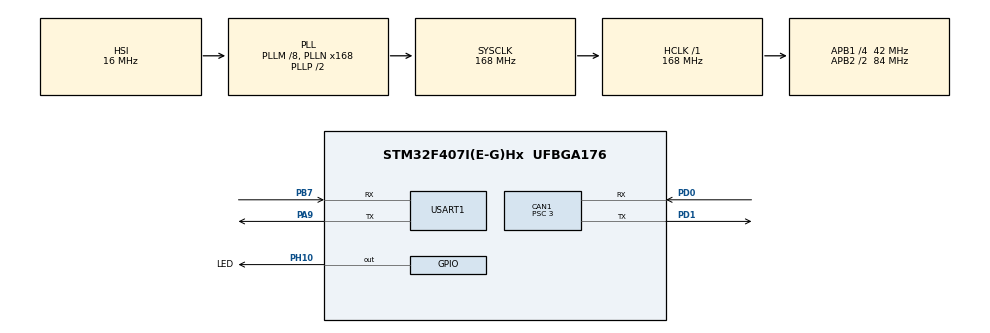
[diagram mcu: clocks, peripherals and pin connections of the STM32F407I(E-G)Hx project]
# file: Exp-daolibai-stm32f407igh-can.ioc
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CAN1.ABOM=ENABLE
CAN1.BS1=CAN_BS1_9TQ
CAN1.BS2=CAN_BS2_4TQ
CAN1.CalculateBaudRate=1000000
CAN1.CalculateTimeBit=1000
CAN1.CalculateTimeQuantum=71.42857142857143
CAN1.Prescaler=3
Mcu.Family=STM32F4
Mcu.Name=STM32F407I(E-G)Hx
Mcu.Package=UFBGA176
NVIC.CAN1_RX0_IRQn=true\:0\:0\:false\:false\:true\:true\:true\:true
NVIC.CAN1_TX_IRQn=true\:0\:0\:false\:false\:true\:true\:true\:true
NVIC.PriorityGroup=NVIC_PRIORITYGROUP_4
NVIC.USART1_IRQn=true\:0\:0\:false\:false\:true\:true\:true\:true
PA13.Mode=Serial_Wire
PA13.Signal=SYS_JTMS-SWDIO
PA14.Mode=Serial_Wire
PA14.Signal=SYS_JTCK-SWCLK
PA9.Mode=Asynchronous
PA9.Signal=USART1_TX
PB7.Mode=Asynchronous
PB7.Signal=USART1_RX
PC14-OSC32_IN.Mode=LSE-External-Oscillator
PC14-OSC32_IN.Signal=RCC_OSC32_IN
PC15-OSC32_OUT.Mode=LSE-External-Oscillator
PC15-OSC32_OUT.Signal=RCC_OSC32_OUT
PD0.Mode=CAN_Activate
PD0.Signal=CAN1_RX
PD1.Mode=CAN_Activate
PD1.Signal=CAN1_TX
PH0-OSC_IN.Mode=HSE-External-Oscillator
PH0-OSC_IN.Signal=RCC_OSC_IN
PH1-OSC_OUT.Mode=HSE-External-Oscillator
PH1-OSC_OUT.Signal=RCC_OSC_OUT
PH10.GPIO_Label=LED
PH10.PinState=GPIO_PIN_SET
PH10.Signal=GPIO_Output
ProjectManager.HeapSize=0x200
ProjectManager.StackSize=0x400
ProjectManager.TargetToolchain=Makefile
RCC.48MHZClocksFreq_Value=84000000
RCC.AHBFreq_Value=168000000
RCC.APB1CLKDivider=RCC_HCLK_DIV4
RCC.APB1Freq_Value=42000000
RCC.APB1TimFreq_Value=84000000
RCC.APB2CLKDivider=RCC_HCLK_DIV2
RCC.APB2Freq_Value=84000000
RCC.APB2TimFreq_Value=168000000
RCC.CortexFreq_Value=168000000
RCC.HCLKFreq_Value=168000000
RCC.HSE_VALUE=12000000
RCC.HSI_VALUE=16000000
RCC.PLLM=8
RCC.PLLN=168
RCC.SYSCLKFreq_VALUE=168000000
RCC.SYSCLKSource=RCC_SYSCLKSOURCE_PLLCLK
RCC.VCOOutputFreq_Value=336000000
USART1.VirtualMode=VM_ASYNC
board=custom

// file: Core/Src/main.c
/* USER CODE BEGIN Header */
/**
  ******************************************************************************
  * @file           : main.c
  * @brief          : Main program body
  ******************************************************************************
  * @attention
  *
  * <h2><center>&copy; Copyright (c) 2021 STMicroelectronics.
  * All rights reserved.</center></h2>
  *
  * This software component is licensed by ST under BSD 3-Clause license,
  * the "License"; You may not use this file except in compliance with the
  * License. You may obtain a copy of the License at:
  *                        opensource.org/licenses/BSD-3-Clause
  *
  ******************************************************************************
  */
/* USER CODE END Header */
#include "main.h"
#include "can.h"
#include "usart.h"
#include "gpio.h"

/* USER CODE BEGIN Includes */
#include "bsp_can.h"
#include "pid.h"
#include <stdio.h>
#include <string.h>
#include "stm32f407xx.h"

/* USER CODE END Includes */

void SystemClock_Config(void);

/* USER CODE BEGIN 0 */
PID_TypeDef motor_pid[4];
int32_t set_spd = 0;
/* USER CODE END 0 */

int main(void)
{
  /* USER CODE BEGIN 1 */
	const uint8_t SendBuffer[4]={0x03,0xFC,0xFC,0x03};  // ֡ͷ
  /* USER CODE END 1 */

  /* MCU Configuration--------------------------------------------------------*/

  /* Reset of all peripherals, Initializes the Flash interface and the Systick. */
  HAL_Init();

  /* Configure the system clock */
  SystemClock_Config();

  /* Initialize all configured peripherals */
  MX_GPIO_Init();
  MX_CAN1_Init();
  MX_USART1_UART_Init();
  /* USER CODE BEGIN 2 */

	HAL_CAN_Start(&hcan1);
	my_can_filter_init_recv_all(&hcan1);
	HAL_CAN_ActivateNotification(&hcan1, CAN_IT_RX_FIFO0_MSG_PENDING);  // enable IT

  /* USER CODE END 2 */

  /* Infinite loop */
  /* USER CODE BEGIN WHILE */
	set_spd = 9000;  // set speed (rpm)
  for(int i=0; i<4; i++)
  {
    pid_init(&motor_pid[i]);
    motor_pid[i].f_param_init(&motor_pid[i],PID_Speed,16384,5000,10,0,8000,0,1.5,0.05,0);
  }

  while (1)
  {
    /* USER CODE END WHILE */

    /* USER CODE BEGIN 3 */

		/* ɽ??????????????ʾ???? Virtual oscilloscope */
		/**HAL_UART_Transmit(&huart1, (uint8_t *)&SendBuffer[0], 1, 0x0a);*/
		/**HAL_UART_Transmit(&huart1, (uint8_t *)&SendBuffer[1], 1, 0x0a);*/
		/**HAL_UART_Transmit(&huart1, (uint8_t *)&moto_chassis[0].speed_rpm, sizeof(int16_t), 0x0a);*/
		/**HAL_UART_Transmit(&huart1, (uint8_t *)&SendBuffer[2], 1, 0x0a);*/
		/**HAL_UART_Transmit(&huart1, (uint8_t *)&SendBuffer[3], 1, 0x0a);*/
		/**************************************************************/

			/**cprintf(&huart1, "%d",(uint8_t *)&SendBuffer[0], 1, 0x0a);*/
			/**cprintf(&huart1, "%d",(uint8_t *)&SendBuffer[1], 1, 0x0a);*/
			/**cprintf(&huart1, "%d",(uint8_t *)&moto_chassis[0].speed_rpm, sizeof(int16_t));*/
			/**cprintf(&huart1, "%d",);*/
			/**cprintf(&huart1, "%d",);*/
			/**cprintf(&huart1, "%d",);*/
			/**cprintf(&huart1, "%d",);*/

		/* PID calculation & motor output */
		for(int i=0; i<4; i++)
    {
      motor_pid[i].target = set_spd;
      motor_pid[i].f_cal_pid(&motor_pid[i],moto_chassis[i].speed_rpm);    //?????趨�?????PID???�?
    }
    set_moto_current(&hcan1, motor_pid[0].output,   //??PID?ļ???????ͨ??CAN???͵?????
                        -motor_pid[1].output,
                        motor_pid[2].output,
                        motor_pid[3].output);
		/**************************************************************/

		HAL_Delay(10);  // 100hz
  }
  /* USER CODE END 3 */
}

void SystemClock_Config(void)
{
  RCC_OscInitTypeDef RCC_OscInitStruct = {0};
  RCC_ClkInitTypeDef RCC_ClkInitStruct = {0};

  /** Configure the main internal regulator output voltage
  */
  __HAL_RCC_PWR_CLK_ENABLE();
  __HAL_PWR_VOLTAGESCALING_CONFIG(PWR_REGULATOR_VOLTAGE_SCALE1);
  /** Initializes the RCC Oscillators according to the specified parameters
  * in the RCC_OscInitTypeDef structure.
  */
  RCC_OscInitStruct.OscillatorType = RCC_OSCILLATORTYPE_HSI;
  RCC_OscInitStruct.HSIState = RCC_HSI_ON;
  RCC_OscInitStruct.HSICalibrationValue = RCC_HSICALIBRATION_DEFAULT;
  RCC_OscInitStruct.PLL.PLLState = RCC_PLL_ON;
  RCC_OscInitStruct.PLL.PLLSource = RCC_PLLSOURCE_HSI;
  RCC_OscInitStruct.PLL.PLLM = 8;
  RCC_OscInitStruct.PLL.PLLN = 168;
  RCC_OscInitStruct.PLL.PLLP = RCC_PLLP_DIV2;
  RCC_OscInitStruct.PLL.PLLQ = 4;
  if (HAL_RCC_OscConfig(&RCC_OscInitStruct) != HAL_OK)
  {
    Error_Handler();
  }
  /** Initializes the CPU, AHB and APB buses clocks
  */
  RCC_ClkInitStruct.ClockType = RCC_CLOCKTYPE_HCLK|RCC_CLOCKTYPE_SYSCLK
                              |RCC_CLOCKTYPE_PCLK1|RCC_CLOCKTYPE_PCLK2;
  RCC_ClkInitStruct.SYSCLKSource = RCC_SYSCLKSOURCE_PLLCLK;
  RCC_ClkInitStruct.AHBCLKDivider = RCC_SYSCLK_DIV1;
  RCC_ClkInitStruct.APB1CLKDivider = RCC_HCLK_DIV4;
  RCC_ClkInitStruct.APB2CLKDivider = RCC_HCLK_DIV2;

  if (HAL_RCC_ClockConfig(&RCC_ClkInitStruct, FLASH_LATENCY_5) != HAL_OK)
  {
    Error_Handler();
  }
}

/* USER CODE BEGIN 4 */

int fputc(int ch, FILE *f)
{
  HAL_UART_Transmit(&huart1, (uint8_t *)&ch, 1, 0xffff);
  return ch;
}
int fgetc(FILE *f)
{
  uint8_t ch = 0;
  HAL_UART_Receive(&huart1, &ch, 1, 0xffff);
  return ch;
}

/* USER CODE END 4 */

void Error_Handler(void)
{
  __disable_irq();
  while (1)
  {
  }
}

/************************ (C) COPYRIGHT STMicroelectronics *****END OF FILE****/
